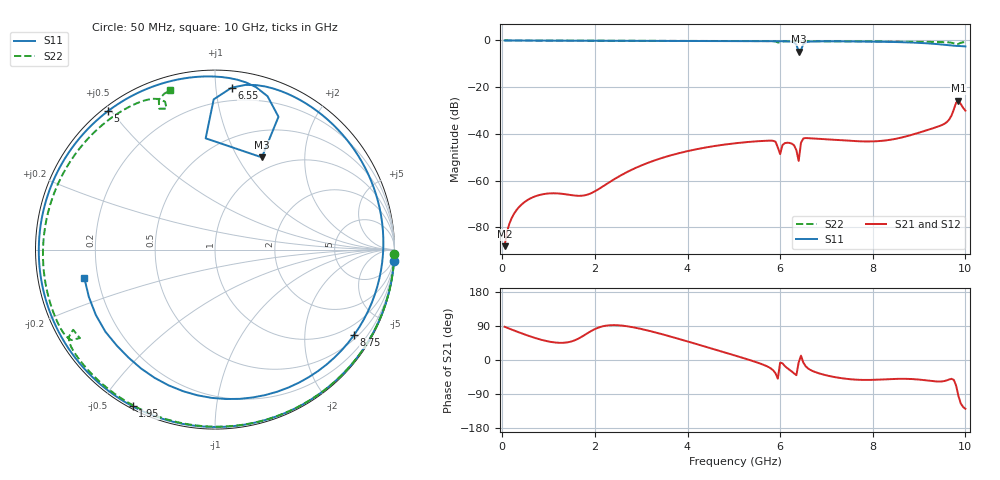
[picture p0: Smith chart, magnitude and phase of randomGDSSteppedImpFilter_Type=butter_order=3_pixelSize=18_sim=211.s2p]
! freq	dB(S11)	phase(S11)	dB(S12)	phase(S12)
!  dB(S21)	phase(S21)	dB(S22)	phase(S22)
!S-par simulation data
#  GHz  S  DB  R 50
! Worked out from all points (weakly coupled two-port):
!   200 points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, 50 MHz to 10 GHz, reference 50 ohm
!   highest |S21| = -25.77 dB at 9.85 GHz (marker M1); lowest = -88.1 dB at 50 MHz (marker M2)
!   lowest |S11| = -4.8 dB at 6.4 GHz (marker M3), VSWR 3.72, Z = 41.2 + j63.4 ohm
!   |S11| at or under -10 dB: nowhere
!   |S22| runs from -1.6 to 0.0 dB; largest |S21 - S12| = 0
!   S11 on the Smith chart (normalised r, x): 50 MHz: 0, -32; 1.95 GHz: 0.01, -0.60; 5 GHz: 0.02, +0.49; 6.55 GHz: 0.11, +1.10; 8.75 GHz: 0.62, -3.43; 10 GHz: 0.15, -0.11
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0.05  -0.00 -3.5  -88.08 87.6  -88.08 87.6  -0.00 -1.4
0.7  -0.06 -47.8  -66.82 58.4  -66.82 58.4  -0.02 -19.1
1.75  -0.11 -108.0  -66.40 63.8  -66.40 63.8  -0.06 -47.1
1.95  -0.12 -117.7  -65.11 78.5  -65.11 78.5  -0.07 -52.3
3.4  -0.16 -176.6  -50.62 69.7  -50.62 69.7  -0.12 -88.5
5  -0.22 127.7  -44.09 12.8  -44.09 12.8  -0.19 -126.2
5.05  -0.22 126.0  -43.98 10.9  -43.98 10.9  -0.19 -127.4
5.85  -0.28 96.4  -42.97 -27.3  -42.97 -27.3  -0.32 -147.2
6  -0.32 90.0  -48.66 -6.9  -48.66 -6.9  -0.92 -146.8
6.15  -0.40 82.6  -43.80 -21.1  -43.80 -21.1  -0.32 -151.2
6.3  -0.88 71.1  -44.90 -35.4  -44.90 -35.4  -0.30 -155.3
6.4  -4.79 63.1  -51.59 -6.4  -51.59 -6.4  -0.30 -157.8
6.45  -4.12 94.8  -43.78 11.4  -43.78 11.4  -0.30 -159.1
6.55  -0.85 84.1  -41.79 -16.3  -41.79 -16.3  -0.31 -161.5
6.7  -0.44 72.8  -41.96 -29.0  -41.96 -29.0  -0.32 -165.2
7.6  -0.42 30.8  -43.08 -51.6  -43.08 -51.6  -0.40 172.5
8.35  -0.61 -7.1  -42.61 -50.5  -42.61 -50.5  -0.48 152.6
8.75  -0.83 -31.6  -40.92 -49.8  -40.92 -49.8  -0.53 141.3
9.4  -1.57 -85.8  -36.93 -56.7  -36.93 -56.7  -0.65 121.3
9.65  -2.05 -115.2  -33.86 -51.3  -33.86 -51.3  -0.83 112.4
9.85  -2.35 -143.2  -25.77 -95.0  -25.77 -95.0  -1.47 111.6
10  -2.56 -167.6  -30.04 -128.9  -30.04 -128.9  -0.71 105.7
